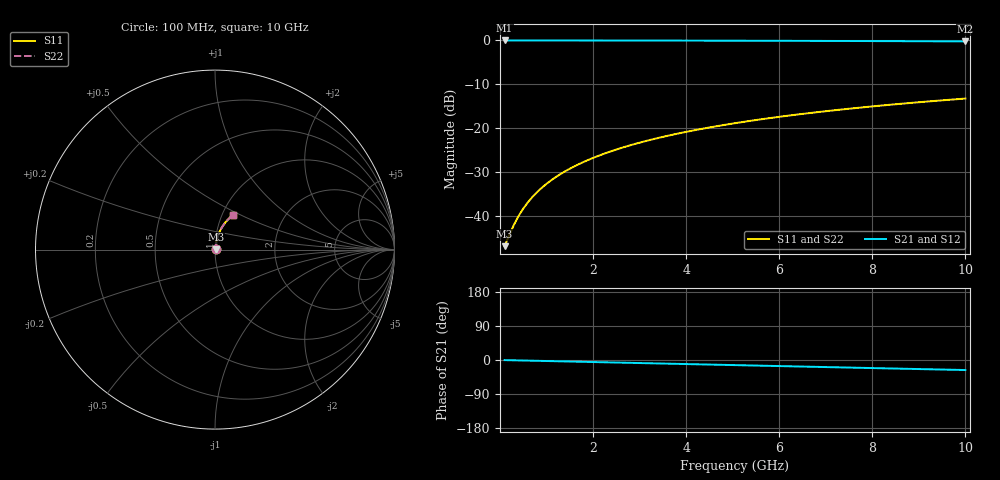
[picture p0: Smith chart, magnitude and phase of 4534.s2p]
# Hz S RI R 50.00
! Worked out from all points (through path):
!   100 points, 100 MHz to 10 GHz, reference 50 ohm
!   highest |S21| = -0.03 dB at 100 MHz (marker M1); lowest = -0.2 dB at 10 GHz (marker M2)
!   group delay of S21, straight-line fit = 7.37 ps
!   lowest |S11| = -47.0 dB at 100 MHz (marker M3), VSWR 1.01, Z = 50.4 + j0.227 ohm
!   |S11| at or under -10 dB: start of sweep to end of sweep
!   |S22| runs from -47.0 to -13.3 dB; largest |S21 - S12| = 0
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1e8  0.00388 0.00225  0.9961 -0.00466  0.9961 -0.00466  0.00388 0.00225
2e8  0.00394 0.00451  0.996 -0.00932  0.996 -0.00932  0.00394 0.00451
3e8  0.00401 0.00676  0.996 -0.014  0.996 -0.014  0.00401 0.00676
4e8  0.00409 0.00902  0.9958 -0.0186  0.9958 -0.0186  0.00409 0.00902
5e8  0.0042 0.0113  0.9957 -0.0233  0.9957 -0.0233  0.0042 0.0113
6e8  0.00433 0.0135  0.9956 -0.028  0.9956 -0.028  0.00433 0.0135
7e8  0.00448 0.0158  0.9954 -0.0326  0.9954 -0.0326  0.00448 0.0158
9e8  0.00483 0.0203  0.9949 -0.0419  0.9949 -0.0419  0.00483 0.0203
1e9  0.00504 0.0225  0.9946 -0.0466  0.9946 -0.0466  0.00504 0.0225
1.2e9  0.00551 0.027  0.994 -0.0559  0.994 -0.0559  0.00551 0.027
1.5e9  0.00638 0.0337  0.9929 -0.0698  0.9929 -0.0698  0.00638 0.0337
1.8e9  0.00744 0.0404  0.9916 -0.0837  0.9916 -0.0837  0.00744 0.0404
2.1e9  0.00868 0.047  0.99 -0.0975  0.99 -0.0975  0.00868 0.047
2.5e9  0.0106 0.0558  0.9875 -0.116  0.9875 -0.116  0.0106 0.0558
2.9e9  0.0129 0.0645  0.9846 -0.1343  0.9846 -0.1343  0.0129 0.0645
3.4e9  0.0162 0.0752  0.9804 -0.1571  0.9804 -0.1571  0.0162 0.0752
4.2e9  0.0224 0.092  0.9723 -0.1932  0.9723 -0.1932  0.0224 0.092
5.1e9  0.0309 0.1102  0.9614 -0.2331  0.9614 -0.2331  0.0309 0.1102
5.9e9  0.0397 0.1257  0.95 -0.268  0.95 -0.268  0.0397 0.1257
6.7e9  0.0495 0.1405  0.9371 -0.3021  0.9371 -0.3021  0.0495 0.1405
8.4e9  0.0738 0.169  0.9052 -0.3718  0.9052 -0.3718  0.0738 0.169
1e10  0.1001 0.192  0.87 -0.4335  0.87 -0.4335  0.1001 0.192
